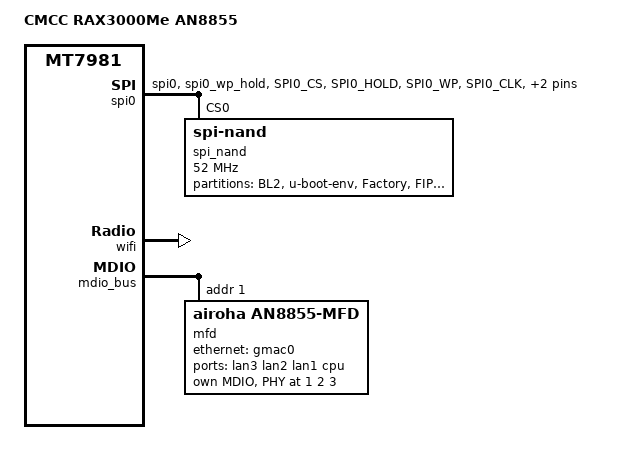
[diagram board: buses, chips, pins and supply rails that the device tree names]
// SPDX-License-Identifier: GPL-2.0-or-later OR MIT

/dts-v1/;
#include "mt7981b-cmcc-rax3000m.dtsi"

/ {
	model = "CMCC RAX3000Me AN8855";
	compatible = "cmcc,rax3000me", "mediatek,mt7981";

	aliases {
		label-mac-device = &gmac1;
	};
};

&gmac0 {
	nvmem-cells = <&macaddr_factory_2a 0>;
	nvmem-cell-names = "mac-address";
};

&gmac1 {
	nvmem-cells = <&macaddr_factory_24 0>;
	nvmem-cell-names = "mac-address";
};

&spi0 {
	pinctrl-names = "default";
	pinctrl-0 = <&spi0_flash_pins>;
	status = "okay";

	spi_nand: flash@0 {
		#address-cells = <1>;
		#size-cells = <1>;
		compatible = "spi-nand";
		reg = <0>;

		spi-max-frequency = <52000000>;
		spi-tx-bus-width = <4>;
		spi-rx-bus-width = <4>;
		mediatek,nmbm;
		mediatek,bmt-max-ratio = <1>;
		mediatek,bmt-max-reserved-blocks = <64>;

		partitions: partitions {
			compatible = "fixed-partitions";
			#address-cells = <1>;
			#size-cells = <1>;

			partition@0 {
				label = "BL2";
				reg = <0x00000 0x100000>;
				read-only;
			};

			partition@100000 {
				label = "u-boot-env";
				reg = <0x100000 0x80000>;
			};

			factory: partition@180000 {
				label = "Factory";
				reg = <0x180000 0x200000>;

				compatible = "nvmem-cells";
				nvmem-layout {
					compatible = "fixed-layout";
					#address-cells = <1>;
					#size-cells = <1>;

					macaddr_factory_24: macaddr@24 {
						compatible = "mac-base";
						reg = <0x24 0x6>;
						#nvmem-cell-cells = <1>;
					};

					macaddr_factory_2a: macaddr@2a {
						compatible = "mac-base";
						reg = <0x2a 0x6>;
						#nvmem-cell-cells = <1>;
					};
				};
			};

			partition@380000 {
				label = "FIP";
				reg = <0x380000 0x200000>;
			};

			partition@580000 {
				label = "ubi";
				reg = <0x580000 0x7200000>;
			};
		};
	};
};

&pio {
	spi0_flash_pins: spi0-pins {
		mux {
			function = "spi";
			groups = "spi0", "spi0_wp_hold";
		};

		conf-pu {
			pins = "SPI0_CS", "SPI0_HOLD", "SPI0_WP";
			drive-strength = <MTK_DRIVE_8mA>;
			bias-pull-up = <MTK_PUPD_SET_R1R0_11>;
		};

		conf-pd {
			pins = "SPI0_CLK", "SPI0_MOSI", "SPI0_MISO";
			drive-strength = <MTK_DRIVE_8mA>;
			bias-pull-down = <MTK_PUPD_SET_R1R0_11>;
		};
	};
};

&wifi {
	mediatek,mtd-eeprom = <&factory 0x0>;
};


/* RAX3000Me AN8855 switch variant */
&switch {
	status = "disabled";
};

&mdio_bus {
	mfd: mfd@1 {
		compatible = "airoha,an8855-mfd";
		reg = <1>;
	};
};

&mfd {
	efuse {
		compatible = "airoha,an8855-efuse";
		#nvmem-cell-cells = <0>;

		nvmem-layout {
			compatible = "fixed-layout";
			#address-cells = <1>;
			#size-cells = <1>;

			shift_sel_port0_tx_a: shift-sel-port0-tx-a@c {
				reg = <0xc 0x4>;
			};

			shift_sel_port0_tx_b: shift-sel-port0-tx-b@10 {
				reg = <0x10 0x4>;
			};

			shift_sel_port0_tx_c: shift-sel-port0-tx-c@14 {
				reg = <0x14 0x4>;
			};

			shift_sel_port0_tx_d: shift-sel-port0-tx-d@18 {
				reg = <0x18 0x4>;
			};

			shift_sel_port1_tx_a: shift-sel-port1-tx-a@1c {
				reg = <0x1c 0x4>;
			};

			shift_sel_port1_tx_b: shift-sel-port1-tx-b@20 {
				reg = <0x20 0x4>;
			};

			shift_sel_port1_tx_c: shift-sel-port1-tx-c@24 {
				reg = <0x24 0x4>;
			};

			shift_sel_port1_tx_d: shift-sel-port1-tx-d@28 {
				reg = <0x28 0x4>;
			};

			shift_sel_port2_tx_a: shift-sel-port2-tx-a@2c {
				reg = <0x2c 0x4>;
			};

			shift_sel_port2_tx_b: shift-sel-port2-tx-b@30 {
				reg = <0x30 0x4>;
			};

			shift_sel_port2_tx_c: shift-sel-port2-tx-c@34 {
				reg = <0x34 0x4>;
			};

			shift_sel_port2_tx_d: shift-sel-port2-tx-d@38 {
				reg = <0x38 0x4>;
			};
		};
	};

	ethernet-switch {
		compatible = "airoha,an8855-switch";
		reset-gpios = <&pio 39 GPIO_ACTIVE_HIGH>;
		airoha,ext-surge;

		ports {
			#address-cells = <1>;
			#size-cells = <0>;

			port@0 {
				reg = <0>;
				label = "lan3";
				phy-mode = "internal";
				phy-handle = <&internal_phy1>;
			};

			port@1 {
				reg = <1>;
				label = "lan2";
				phy-mode = "internal";
				phy-handle = <&internal_phy2>;
			};

			port@2 {
				reg = <2>;
				label = "lan1";
				phy-mode = "internal";
				phy-handle = <&internal_phy3>;
			};

			port@5 {
				reg = <5>;
				label = "cpu";
				ethernet = <&gmac0>;
				phy-mode = "2500base-x";

				fixed-link {
					speed = <2500>;
					full-duplex;
					pause;
				};
			};
		};
	};

	mdio {
		compatible = "airoha,an8855-mdio";
		#address-cells = <1>;
		#size-cells = <0>;

		internal_phy1: phy@1 {
			reg = <1>;

			nvmem-cells = <&shift_sel_port0_tx_a>,
					<&shift_sel_port0_tx_b>,
					<&shift_sel_port0_tx_c>,
					<&shift_sel_port0_tx_d>;
			nvmem-cell-names = "tx_a", "tx_b", "tx_c", "tx_d";
		};

		internal_phy2: phy@2 {
			reg = <2>;

			nvmem-cells = <&shift_sel_port1_tx_a>,
					<&shift_sel_port1_tx_b>,
					<&shift_sel_port1_tx_c>,
					<&shift_sel_port1_tx_d>;
			nvmem-cell-names = "tx_a", "tx_b", "tx_c", "tx_d";
		};

		internal_phy3: phy@3 {
			reg = <3>;

			nvmem-cells = <&shift_sel_port2_tx_a>,
					<&shift_sel_port2_tx_b>,
					<&shift_sel_port2_tx_c>,
					<&shift_sel_port2_tx_d>;
			nvmem-cell-names = "tx_a", "tx_b", "tx_c", "tx_d";
		};
	};
};
